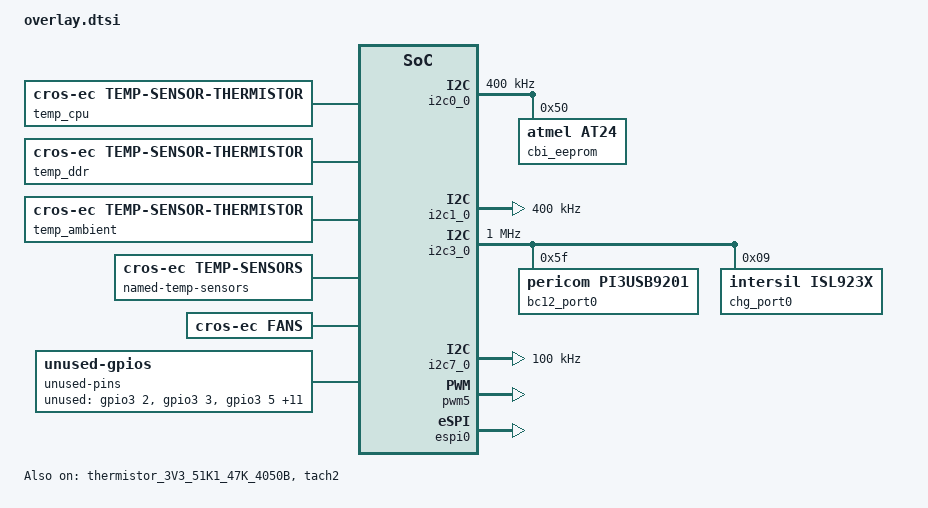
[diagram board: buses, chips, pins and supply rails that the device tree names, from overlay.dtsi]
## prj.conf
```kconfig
# Copyright 2022 The ChromiumOS Authors
# Use of this source code is governed by a BSD-style license that can be
# found in the LICENSE file.

CONFIG_BOARD_PUJJO=y

# Sensor drivers
CONFIG_PLATFORM_EC_ACCELGYRO_LSM6DSM=y
CONFIG_PLATFORM_EC_ACCEL_BMA4XX=y
CONFIG_PLATFORM_EC_ACCELGYRO_BMI_COMM_I2C=y
CONFIG_PLATFORM_EC_ACCELGYRO_BMI3XX=y
CONFIG_PLATFORM_EC_DYNAMIC_MOTION_SENSOR_COUNT=y

# Increase PD max power from default
CONFIG_PLATFORM_EC_PD_MAX_POWER_MW=65000
CONFIG_PLATFORM_EC_PD_MAX_CURRENT_MA=3250

# LED
CONFIG_PLATFORM_EC_LED_PWM=n
CONFIG_PLATFORM_EC_LED_COMMON=y

# CBI
CONFIG_PLATFORM_EC_BYPASS_CBI_EEPROM_WP_CHECK=y
CONFIG_PLATFORM_EC_SYSTEM_UNLOCKED=y

# Charger
CONFIG_RAA489000_TRICKLE_CHARGE_CURRENT_256MA=y

# DPS
CONFIG_PLATFORM_EC_USB_PD_DPS=n

# BTN
CONFIG_PLATFORM_EC_BUTTONS_RUNTIME_CONFIG=y
```

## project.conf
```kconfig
# Copyright 2022 The ChromiumOS Authors
# Use of this source code is governed by a BSD-style license that can be
# found in the LICENSE file.

CONFIG_BOARD_PUJJO=y

# Sensor drivers
CONFIG_PLATFORM_EC_ACCELGYRO_LSM6DSM=y
CONFIG_PLATFORM_EC_ACCEL_BMA4XX=y
CONFIG_PLATFORM_EC_ACCELGYRO_BMI_COMM_I2C=y
CONFIG_PLATFORM_EC_ACCELGYRO_BMI3XX=y
CONFIG_PLATFORM_EC_DYNAMIC_MOTION_SENSOR_COUNT=y

# Increase PD max power from default
CONFIG_PLATFORM_EC_PD_MAX_POWER_MW=65000
CONFIG_PLATFORM_EC_PD_MAX_CURRENT_MA=3250

# LED
CONFIG_PLATFORM_EC_LED_PWM=n
CONFIG_PLATFORM_EC_LED_COMMON=y

# CBI
CONFIG_PLATFORM_EC_BYPASS_CBI_EEPROM_WP_CHECK=y
CONFIG_PLATFORM_EC_SYSTEM_UNLOCKED=y

# DPS
CONFIG_PLATFORM_EC_USB_PD_DPS=n

# BTN
CONFIG_PLATFORM_EC_BUTTONS_RUNTIME_CONFIG=y

# Charger
CONFIG_PLATFORM_EC_RAA489000_TRICKLE_CHARGE_CURRENT=256
```

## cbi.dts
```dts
/* Copyright 2022 The ChromiumOS Authors
 * Use of this source code is governed by a BSD-style license that can be
 * found in the LICENSE file.
 */

/ {
	/* Pujjo-specific fw_config fields. */
	nissa-fw-config {
		/*
		 * FW_CONFIG field to enable KB back light or not.
		 */
		kb-bl {
			enum-name = "FW_KB_BL";
			start = <3>;
			size = <1>;

			no-kb-bl {
				compatible = "cros-ec,cbi-fw-config-value";
				enum-name = "FW_KB_BL_NOT_PRESENT";
				value = <0>;
			};
			kb-bl-present {
				compatible = "cros-ec,cbi-fw-config-value";
				enum-name = "FW_KB_BL_PRESENT";
				value = <1>;
			};
		};

		/*
		 * FW_CONFIG field for KB PWB present or not.
		 */
		kb-pwb {
			enum-name = "FW_KB_PWB";
			start = <4>;
			size = <1>;

			no-kb-pwb {
				compatible = "cros-ec,cbi-fw-config-value";
				enum-name = "FW_KB_PWB_NOT_PRESENT";
				value = <0>;
			};
			kb-pwb-present {
				compatible = "cros-ec,cbi-fw-config-value";
				enum-name = "FW_KB_PWB_PRESENT";
				value = <1>;
			};
		};

		/*
		 * FW_CONFIG field for tablet present or not.
		 */
		tablet {
			enum-name = "FW_TABLET";
			start = <5>;
			size = <1>;

			no-tablet {
				compatible = "cros-ec,cbi-fw-config-value";
				enum-name = "FW_TABLET_NOT_PRESENT";
				value = <0>;
			};
			tablet-present {
				compatible = "cros-ec,cbi-fw-config-value";
				enum-name = "FW_TABLET_PRESENT";
				value = <1>;
			};
		};

		/*
		 * FW_CONFIG field for LTE board present or not.
		 *
		 *	start = <6>;
		 *	size = <1>;
		 */

		/*
		 * FW_CONFIG field for SD card present or not.
		 *
		 *	start = <7>;
		 *	size = <1>;
		 */

		/*
		 * FW_CONFIG field for pen present or not.
		 */
		pen {
			enum-name = "FW_PEN";
			start = <8>;
			size = <1>;

			no-pen {
				compatible = "cros-ec,cbi-fw-config-value";
				enum-name = "FW_PEN_NOT_PRESENT";
				value = <0>;
			};
			pen-present {
				compatible = "cros-ec,cbi-fw-config-value";
				enum-name = "FW_PEN_PRESENT";
				value = <1>;
			};
		};

		/*
		 * FW_CONFIG field for WF camera present or not.
		 *
		 *	start = <9>;
		 *	size = <1>;
		 */

		/*
		 * FW_CONFIG field for multiple thermal table.
		 */
		therm-table {
			enum-name = "THERM_TABLE";
			start = <10>;
			size = <2>;

			therm-table-1 {
				compatible = "cros-ec,cbi-fw-config-value";
				enum-name = "THERM_TABLE_1";
				value = <1>;
			};
		};
	};

	/* Craask-specific ssfc fields. */
	cbi-ssfc {
		compatible = "named-cbi-ssfc";
		/*
		 * SSFC field to identify LID motion sensor.
		 */
		lid-sensor {
			enum-name = "LID_SENSOR";
			size = <2>;
			lid_sensor_0: lis2dw12 {
				compatible = "named-cbi-ssfc-value";
				status = "okay";
				value = <0>;
				default;
			};
			lid_sensor_1: bma422 {
				compatible = "named-cbi-ssfc-value";
				status = "okay";
				value = <1>;
			};
		};
		/*
		 * SSFC field to identify BASE motion sensor.
		 */
		base-sensor {
			enum-name = "BASE_SENSOR";
			size = <2>;

			base_sensor_0: lsm6dso {
				compatible = "named-cbi-ssfc-value";
				status = "okay";
				value = <0>;
				default;
			};
			base_sensor_1: bmi323 {
				compatible = "named-cbi-ssfc-value";
				status = "okay";
				value = <1>;
			};
		};
	};
};
```

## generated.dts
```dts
/* Copyright 2022 The ChromiumOS Authors
 * Use of this source code is governed by a BSD-style license that can be
 * found in the LICENSE file.
 *
 * This file is auto-generated - do not edit!
 */

/ {

	named-adc-channels {
		compatible = "named-adc-channels";

		adc_ec_vsense_pp1050_proc: ec_vsense_pp1050_proc {
			enum-name = "ADC_PP1050_PROC";
			io-channels = <&adc0 4>;
		};
		adc_ec_vsense_pp3300_s5: ec_vsense_pp3300_s5 {
			enum-name = "ADC_PP3300_S5";
			io-channels = <&adc0 6>;
		};
		adc_temp_sensor_1: temp_sensor_1 {
			enum-name = "ADC_TEMP_SENSOR_1";
			io-channels = <&adc0 0>;
		};
		adc_temp_sensor_2: temp_sensor_2 {
			enum-name = "ADC_TEMP_SENSOR_2";
			io-channels = <&adc0 1>;
		};
		adc_temp_sensor_3: temp_sensor_3 {
			enum-name = "ADC_TEMP_SENSOR_3";
			io-channels = <&adc0 10>;
		};
	};

	named-gpios {
		compatible = "named-gpios";

		gpio_acc_int_l: acc_int_l {
			gpios = <&gpio5 0 GPIO_INPUT>;
		};
		gpio_all_sys_pwrgd: all_sys_pwrgd {
			gpios = <&gpioa 7 GPIO_INPUT>;
		};
		gpio_ccd_mode_odl: ccd_mode_odl {
			gpios = <&gpioe 5 GPIO_INPUT>;
			enum-name = "GPIO_CCD_MODE_ODL";
		};
		gpio_cpu_c10_gate_l: cpu_c10_gate_l {
			gpios = <&gpio6 7 GPIO_INPUT>;
		};
		gpio_ec_battery_pres_odl: ec_battery_pres_odl {
			gpios = <&gpioa 3 GPIO_INPUT>;
			enum-name = "GPIO_BATT_PRES_ODL";
		};
		gpio_ec_cbi_wp: ec_cbi_wp {
			gpios = <&gpio7 4 GPIO_OUTPUT>;
		};
		gpio_ec_edp_bl_en_od: ec_edp_bl_en_od {
			gpios = <&gpiod 3 GPIO_ODR_HIGH>;
			enum-name = "GPIO_ENABLE_BACKLIGHT";
		};
		gpio_ec_entering_rw: ec_entering_rw {
			gpios = <&gpio0 3 GPIO_OUTPUT>;
			enum-name = "GPIO_ENTERING_RW";
		};
		gpio_ec_gsc_packet_mode: ec_gsc_packet_mode {
			gpios = <&gpio7 5 GPIO_OUTPUT>;
			enum-name = "GPIO_PACKET_MODE_EN";
		};
		gpio_ec_kso_02_inv: ec_kso_02_inv {
			gpios = <&gpio1 7 (GPIO_OUTPUT_LOW | GPIO_ACTIVE_LOW)>;
		};
		gpio_ec_pch_wake_odl: ec_pch_wake_odl {
			gpios = <&gpiob 0 GPIO_ODR_LOW>;
		};
		gpio_ec_prochot_odl: ec_prochot_odl {
			gpios = <&gpiof 1 GPIO_ODR_HIGH>;
		};
		gpio_ec_soc_dsw_pwrok: ec_soc_dsw_pwrok {
			gpios = <&gpio6 1 GPIO_OUTPUT>;
		};
		gpio_ec_soc_hdmi_hpd: ec_soc_hdmi_hpd {
			gpios = <&gpioe 4 GPIO_OUTPUT>;
		};
		gpio_ec_soc_int_odl: ec_soc_int_odl {
			gpios = <&gpio8 0 GPIO_ODR_HIGH>;
			enum-name = "GPIO_EC_INT_L";
		};
		gpio_ec_soc_pch_pwrok_od: ec_soc_pch_pwrok_od {
			gpios = <&gpio7 2 GPIO_ODR_HIGH>;
		};
		gpio_ec_soc_pwr_btn_odl: ec_soc_pwr_btn_odl {
			gpios = <&gpioc 1 GPIO_ODR_HIGH>;
			enum-name = "GPIO_PCH_PWRBTN_L";
		};
		gpio_ec_soc_rsmrst_l: ec_soc_rsmrst_l {
			gpios = <&gpioa 6 GPIO_OUTPUT>;
		};
		gpio_ec_soc_rtcrst: ec_soc_rtcrst {
			gpios = <&gpio7 6 GPIO_OUTPUT>;
		};
		gpio_ec_soc_sys_pwrok: ec_soc_sys_pwrok {
			gpios = <&gpio3 7 GPIO_OUTPUT>;
		};
		gpio_ec_soc_vccst_pwrgd_od: ec_soc_vccst_pwrgd_od {
			gpios = <&gpioa 4 GPIO_ODR_HIGH>;
		};
		gpio_ec_wp_odl: ec_wp_odl {
			gpios = <&gpioa 1 (GPIO_INPUT | GPIO_ACTIVE_LOW)>;
		};
		gpio_en_kb_bl: en_kb_bl {
			gpios = <&gpioa 0 GPIO_OUTPUT>;
			enum-name = "GPIO_EN_KEYBOARD_BACKLIGHT";
		};
		gpio_en_pp3300_s5: en_pp3300_s5 {
			gpios = <&gpiob 6 GPIO_OUTPUT>;
			enum-name = "GPIO_TEMP_SENSOR_POWER";
		};
		gpio_en_pp5000_pen_x: en_pp5000_pen_x {
			gpios = <&gpioe 2 GPIO_OUTPUT>;
		};
		gpio_en_pp5000_s5: en_pp5000_s5 {
			gpios = <&gpio4 0 GPIO_OUTPUT>;
		};
		gpio_en_slp_z: en_slp_z {
			gpios = <&gpioe 1 GPIO_OUTPUT>;
		};
		gpio_en_usb_a0_vbus: en_usb_a0_vbus {
			gpios = <&gpio9 1 GPIO_OUTPUT>;
		};
		gpio_gsc_ec_pwr_btn_odl: gsc_ec_pwr_btn_odl {
			gpios = <&gpio0 0 GPIO_INPUT_PULL_UP>;
			enum-name = "GPIO_POWER_BUTTON_L";
		};
		gpio_hdmi_sel: hdmi_sel {
			gpios = <&gpioc 6 GPIO_OUTPUT>;
		};
		gpio_imu_int_l: imu_int_l {
			gpios = <&gpio5 6 GPIO_INPUT>;
		};
		gpio_imvp91_vrrdy_od: imvp91_vrrdy_od {
			gpios = <&gpio4 3 GPIO_INPUT>;
		};
		gpio_lid_open: lid_open {
			gpios = <&gpiod 2 GPIO_INPUT>;
			enum-name = "GPIO_LID_OPEN";
		};
		gpio_pen_detect_odl: pen_detect_odl {
			gpios = <&gpio9 6 GPIO_INPUT_PULL_UP>;
		};
		gpio_pg_pp1050_mem_s3_od: pg_pp1050_mem_s3_od {
			gpios = <&gpiof 0 GPIO_INPUT>;
		};
		gpio_pg_pp5000_s5_od: pg_pp5000_s5_od {
			gpios = <&gpio4 2 GPIO_INPUT>;
		};
		gpio_rsmrst_pwrgd_l: rsmrst_pwrgd_l {
			gpios = <&gpio9 4 GPIO_INPUT_PULL_UP>;
		};
		gpio_slp_s0_l: slp_s0_l {
			gpios = <&gpio9 7 GPIO_INPUT>;
		};
		gpio_slp_s3_l: slp_s3_l {
			gpios = <&gpioa 5 GPIO_INPUT>;
		};
		gpio_slp_s4_l: slp_s4_l {
			gpios = <&gpio7 0 GPIO_INPUT>;
		};
		gpio_slp_sus_l: slp_sus_l {
			gpios = <&gpio6 2 GPIO_INPUT>;
		};
		gpio_sub_usb_a1_ilimit_sdp: sub_usb_a1_ilimit_sdp {
			gpios = <&gpiod 5 GPIO_OUTPUT>;
			enum-name = "GPIO_USB2_ILIM_SEL";
		};
		gpio_sys_rst_odl: sys_rst_odl {
			gpios = <&gpioc 5 GPIO_ODR_HIGH>;
		};
		gpio_tablet_mode_l: tablet_mode_l {
			gpios = <&gpio9 5 GPIO_INPUT>;
			enum-name = "GPIO_TABLET_MODE_L";
		};
		gpio_usb_a0_ilimit_sdp: usb_a0_ilimit_sdp {
			/* output only pin */
			gpios = <&gpio8 5 (GPIO_GET_OUTPUT | GPIO_OUTPUT)>;
			enum-name = "GPIO_USB1_ILIM_SEL";
		};
		gpio_usb_c0_int_odl: usb_c0_int_odl {
			gpios = <&gpio0 1 GPIO_INPUT_PULL_UP>;
		};
		gpio_vccin_aux_vid0: vccin_aux_vid0 {
			gpios = <&gpio9 2 GPIO_INPUT>;
		};
		gpio_vccin_aux_vid1: vccin_aux_vid1 {
			gpios = <&gpioe 3 GPIO_INPUT>;
		};
		gpio_voldn_btn_odl: voldn_btn_odl {
			gpios = <&gpio9 3 GPIO_INPUT_PULL_UP>;
			enum-name = "GPIO_VOLUME_DOWN_L";
		};
		gpio_volup_btn_odl: volup_btn_odl {
			gpios = <&gpioa 2 GPIO_INPUT_PULL_UP>;
			enum-name = "GPIO_VOLUME_UP_L";
		};
	};

	named-i2c-ports {
		compatible = "named-i2c-ports";

		i2c_ec_i2c_eeprom: ec_i2c_eeprom {
			i2c-port = <&i2c0_0>;
			enum-names = "I2C_PORT_EEPROM";
		};
		i2c_ec_i2c_sensor: ec_i2c_sensor {
			i2c-port = <&i2c1_0>;
			enum-names = "I2C_PORT_SENSOR";
		};
		i2c_ec_i2c_usb_c0: ec_i2c_usb_c0 {
			i2c-port = <&i2c3_0>;
			enum-names = "I2C_PORT_USB_C0_TCPC";
		};
		i2c_ec_i2c_batt: ec_i2c_batt {
			i2c-port = <&i2c7_0>;
			enum-names = "I2C_PORT_BATTERY";
		};
	};
};

&adc0 {
	status = "okay";
	pinctrl-0 = <&adc0_chan0_gp45
		     &adc0_chan1_gp44
		     &adc0_chan4_gp41
		     &adc0_chan6_gp34
		     &adc0_chan10_gpe0>;
	pinctrl-names = "default";
};


&i2c0_0 {
	status = "okay";
	pinctrl-0 = <&i2c0_0_sda_scl_gpb4_b5>;
	pinctrl-names = "default";
};

&i2c1_0 {
	status = "okay";
	pinctrl-0 = <&i2c1_0_sda_scl_gp87_90>;
	pinctrl-names = "default";
};

&i2c3_0 {
	status = "okay";
	pinctrl-0 = <&i2c3_0_sda_scl_gpd0_d1>;
	pinctrl-names = "default";
};

&i2c7_0 {
	status = "okay";
	pinctrl-0 = <&i2c7_0_sda_scl_gpb2_b3>;
	pinctrl-names = "default";
};

&i2c_ctrl0 {
	status = "okay";
};

&i2c_ctrl1 {
	status = "okay";
};

&i2c_ctrl3 {
	status = "okay";
};

&i2c_ctrl7 {
	status = "okay";
};
```

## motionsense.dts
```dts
/* Copyright 2022 The ChromiumOS Authors
 * Use of this source code is governed by a BSD-style license that can be
 * found in the LICENSE file.
 */

#include <dt-bindings/motionsense/utils.h>


/ {
	aliases {
		/*
		 * Interrupt bindings for sensor devices.
		 */
		lsm6dsm-int = &base_accel;
		lis2dw12-int = &lid_accel;
	};

	/*
	 * Declare mutexes used by sensor drivers.
	 * A mutex node is used to create an instance of mutex_t.
	 * A mutex node is referenced by a sensor node if the
	 * corresponding sensor driver needs to use the
	 * instance of the mutex.
	 */
	motionsense-mutex {
		compatible = "cros-ec,motionsense-mutex";
		lid_mutex: lis2dw12-mutex {
		};

		lid_mutex_bma422: bma422-mutex {
		};

		base_mutex: base-mutex {
		};
	};

	/* Rotation matrix used by drivers. */
	motionsense-rotation-ref {
		compatible = "cros-ec,motionsense-rotation-ref";
		lid_rot_ref: lid-rotation-ref {
			mat33 = <0 (-1) 0
				 (-1) 0 0
				 0 0 (-1)>;
		};

		base_rot_ref: base-rotation-ref {
			mat33 = <0 1 0
				 (-1) 0 0
				 0 0 1>;
		};

		base_rot_ver1: base-rotation-ver1 {
			mat33 = <0 1 0
				(-1) 0 0
				0 0 1>;
		};

		lid_rot_bma422: lid-rotation-bma {
			mat33 = <1 0 0
				 0 (-1) 0
				 0 0 (-1)>;
		};
	};

	/*
	 * Driver specific data. A driver-specific data can be shared with
	 * different motion sensors while they are using the same driver.
	 *
	 * If a node's compatible starts with "cros-ec,accelgyro-", it is for
	 * a common structure defined in accelgyro.h.
	 * e.g) compatible = "cros-ec,accelgyro-als-drv-data" is for
	 * "struct als_drv_data_t" in accelgyro.h
	 */
	motionsense-sensor-data {
		lsm6dsm_accel_data: lsm6dsm-accel-drv-data {
			compatible = "cros-ec,drvdata-lsm6dsm";
			status = "okay";
		};

		lsm6dsm_gyro_data: lsm6dsm-gyro-drv-data {
			compatible = "cros-ec,drvdata-lsm6dsm";
			status = "okay";
		};

		lis2dw12_data: lis2dw12-drv-data {
			compatible = "cros-ec,drvdata-lis2dw12";
			status = "okay";
		};

		bma422_data: bma4xx-drv-data {
			compatible = "cros-ec,drvdata-bma4xx";
			status = "okay";
		};
	};

	/*
	 * List of motion sensors that creates motion_sensors array.
	 * The nodelabel "lid_accel" and "base_accel" are used to indicate
	 * motion sensor IDs for lid angle calculation.
	 * TODO(b/238139272): The first entries of the array must be
	 * accelerometers,then gyroscope. Fix this dependency in the DTS
	 * processing which makes the devicetree entries independent.
	 */
	motionsense-sensor {
		lid_accel: lid-accel {
			compatible = "cros-ec,lis2dw12";
			status = "okay";

			active-mask = "SENSOR_ACTIVE_S0_S3";
			location = "MOTIONSENSE_LOC_LID";
			mutex = <&lid_mutex>;
			port = <&i2c_ec_i2c_sensor>;
			rot-standard-ref = <&lid_rot_ref>;
			default-range = <2>;
			drv-data = <&lis2dw12_data>;
			i2c-spi-addr-flags = "LIS2DWL_ADDR0_FLAGS";
			configs {
				compatible =
					"cros-ec,motionsense-sensor-config";
				ec-s0 {
					odr = <(10000 | ROUND_UP_FLAG)>;
				};
				ec-s3 {
					odr = <(10000 | ROUND_UP_FLAG)>;
				};
			};
		};

		base_accel: base-accel {
			compatible = "cros-ec,lsm6dsm-accel";
			status = "okay";

			active-mask = "SENSOR_ACTIVE_S0_S3";
			location = "MOTIONSENSE_LOC_BASE";
			mutex = <&base_mutex>;
			port = <&i2c_ec_i2c_sensor>;
			rot-standard-ref = <&base_rot_ref>;
			drv-data = <&lsm6dsm_accel_data>;
			configs {
				compatible =
					"cros-ec,motionsense-sensor-config";
				ec-s0 {
					odr = <(10000 | ROUND_UP_FLAG)>;
				};
				ec-s3 {
					odr = <(10000 | ROUND_UP_FLAG)>;
				};
			};
		};

		base_gyro: base-gyro {
			compatible = "cros-ec,lsm6dsm-gyro";
			status = "okay";

			active-mask = "SENSOR_ACTIVE_S0_S3";
			location = "MOTIONSENSE_LOC_BASE";
			mutex = <&base_mutex>;
			port = <&i2c_ec_i2c_sensor>;
			rot-standard-ref = <&base_rot_ref>;
			default-range = <(1000 | ROUND_UP_FLAG)>; /* dps */
			drv-data = <&lsm6dsm_gyro_data>;
		};
	};

	motionsense-sensor-alt {
		alt_lid_accel: alt-lid-accel {
			compatible = "cros-ec,bma4xx";
			status = "okay";

			active-mask = "SENSOR_ACTIVE_S0_S3";
			location = "MOTIONSENSE_LOC_LID";
			mutex = <&lid_mutex_bma422>;
			port = <&i2c_ec_i2c_sensor>;
			rot-standard-ref = <&lid_rot_bma422>;
			default-range = <2>;
			drv-data = <&bma422_data>;
			i2c-spi-addr-flags = "BMA4_I2C_ADDR_PRIMARY";
			alternate-for = <&lid_accel>;
			alternate-ssfc-indicator = <&lid_sensor_1>;
			configs {
				compatible =
					"cros-ec,motionsense-sensor-config";
				ec-s0 {
					odr = <(10000 | ROUND_UP_FLAG)>;
				};
				ec-s3 {
					odr = <(10000 | ROUND_UP_FLAG)>;
				};
			};
		};
	};

	motionsense-sensor-info {
		compatible = "cros-ec,motionsense-sensor-info";

		/*
		 * list of GPIO interrupts that have to
		 * be enabled at initial stage
		 */
		sensor-irqs = <&int_imu>;
		/* list of sensors in force mode */
		accel-force-mode-sensors = <&lid_accel>;
	};
};
```

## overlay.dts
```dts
/* Copyright 2022 The ChromiumOS Authors
 * Use of this source code is governed by a BSD-style license that can be
 * found in the LICENSE file.
 */

#include <cros/thermistor/thermistor.dtsi>

/ {
	aliases {
		gpio-cbi-wp = &gpio_ec_cbi_wp;
		gpio-wp = &gpio_ec_wp_odl;
		int-wp = &int_wp_l;
		gpio-kbd-kso2 = &gpio_ec_kso_02_inv;
	};

	ec-console {
		compatible = "ec-console";
		disabled = "events", "lpc", "hostcmd";
	};

	batteries {
		default_battery: smp {
			compatible = "smp,l22m3pg0", "battery-smart";
		};
		smp_l22m3pg1 {
			compatible = "smp,l22m3pg1", "battery-smart";
		};
		sunwoda_l22d3pg0 {
			compatible = "sunwoda,l22d3pg0", "battery-smart";
		};
		sunwoda_l22d3pg1 {
			compatible = "sunwoda,l22d3pg1", "battery-smart";
		};
		celxpert_l22c3pg0 {
			compatible = "celxpert,l22c3pg0", "battery-smart";
		};
	};

	hibernate-wake-pins {
		compatible = "cros-ec,hibernate-wake-pins";
		wakeup-irqs = <
			&int_power_button
			&int_lid_open
		>;
	};

	gpio-interrupts {
		compatible = "cros-ec,gpio-interrupts";

		int_power_button: power_button {
			irq-pin = <&gpio_gsc_ec_pwr_btn_odl>;
			flags = <GPIO_INT_EDGE_BOTH>;
			handler = "power_button_interrupt";
		};
		int_wp_l: wp_l {
			irq-pin = <&gpio_ec_wp_odl>;
			flags = <GPIO_INT_EDGE_BOTH>;
			handler = "switch_interrupt";
		};
		int_lid_open: lid_open {
			irq-pin = <&gpio_lid_open>;
			flags = <GPIO_INT_EDGE_BOTH>;
			handler = "lid_interrupt";
		};
		int_tablet_mode: tablet_mode {
			irq-pin = <&gpio_tablet_mode_l>;
			flags = <GPIO_INT_EDGE_BOTH>;
			handler = "gmr_tablet_switch_isr";
		};
		int_imu: ec_imu {
			irq-pin = <&gpio_imu_int_l>;
			flags = <GPIO_INT_EDGE_FALLING>;
			handler = "lsm6dsm_interrupt";
		};
		int_vol_down: vol_down {
			irq-pin = <&gpio_voldn_btn_odl>;
			flags = <GPIO_INT_EDGE_BOTH>;
			handler = "button_interrupt";
		};
		int_vol_up: vol_up {
			irq-pin = <&gpio_volup_btn_odl>;
			flags = <GPIO_INT_EDGE_BOTH>;
			handler = "button_interrupt";
		};
		int_usb_c0: usb_c0 {
			irq-pin = <&gpio_usb_c0_int_odl>;
			flags = <GPIO_INT_EDGE_FALLING>;
			handler = "usb_interrupt";
		};
	};

	named-gpios {
		gpio_sb_2: sb_2 {
			gpios = <&gpiod 4 GPIO_OUTPUT>;
			no-auto-init;
		};

		gpio_sb_3: sb_3 {
			gpios = <&gpiof 5 GPIO_OPEN_DRAIN>;
			no-auto-init;
		};
		gpio_sb_4: sb_4 {
			gpios = <&gpiof 4 GPIO_INPUT>;
			no-auto-init;
		};
		gpio_fan_enable: fan-enable {
			gpios = <&gpio6 3 GPIO_OUTPUT>;
			no-auto-init;
		};
		gpio_power_led: power_led {
			gpios = <&gpioc 2 GPIO_OUTPUT_LOW>;
		};
		gpio_led_1_odl: led_1_odl {
			gpios = <&gpioc 4 GPIO_OUTPUT_LOW>;
		};
		gpio_led_2_odl: led_2_odl {
			gpios = <&gpioc 3 GPIO_OUTPUT_LOW>;
		};
	};

	/*
	 * Aliases used for sub-board GPIOs.
	 */
	aliases {
		/*
		 * Sub-board with type A USB, enable.
		 */
		gpio-en-usb-a1-vbus = &gpio_sb_2;
		/*
		 * HPD pins for HDMI sub-board.
		 */
		gpio-hdmi-en-odl = &gpio_sb_3;
		gpio-hpd-odl = &gpio_sb_4;
		/*
		 * Enable S5 rails for LTE sub-board
		 */
		gpio-en-sub-s5-rails = &gpio_sb_2;
	};

	named-temp-sensors {
		CPU {
			compatible = "cros-ec,temp-sensor-thermistor",
				     "cros-ec,temp-sensor";
			thermistor = <&thermistor_3V3_51K1_47K_4050B>;
			enum-name = "TEMP_SENSOR_1";
			temp_fan_off = <35>;
			temp_fan_max = <60>;
			temp_host_high = <90>;
			temp_host_halt = <100>;
			temp_host_release_high = <85>;
			adc = <&adc_temp_sensor_1>;
			power-good-pin = <&gpio_ec_soc_dsw_pwrok>;
		};
		DDR {
			compatible = "cros-ec,temp-sensor-thermistor",
				     "cros-ec,temp-sensor";
			thermistor = <&thermistor_3V3_51K1_47K_4050B>;
			enum-name = "TEMP_SENSOR_2";
			temp_fan_off = <35>;
			temp_fan_max = <60>;
			temp_host_high = <90>;
			temp_host_halt = <100>;
			temp_host_release_high = <85>;
			adc = <&adc_temp_sensor_2>;
			power-good-pin = <&gpio_ec_soc_dsw_pwrok>;
		};
		ambient {
			compatible = "cros-ec,temp-sensor-thermistor",
				     "cros-ec,temp-sensor";
			thermistor = <&thermistor_3V3_51K1_47K_4050B>;
			enum-name = "TEMP_SENSOR_3";
			temp_fan_off = <35>;
			temp_fan_max = <60>;
			temp_host_high = <90>;
			temp_host_halt = <100>;
			temp_host_release_high = <85>;
			adc = <&adc_temp_sensor_3>;
			power-good-pin = <&gpio_ec_soc_dsw_pwrok>;
		};
	};

	usba {
		compatible = "cros-ec,usba-port-enable-pins";
		/*
		 * sb_2 is only configured as GPIO when USB-A1 is present,
		 * but it's still safe to control when disabled.
		 *
		 * ILIM_SEL pins are referred to by legacy enum name,
		 * GPIO_USB*_ILIM_SEL. The one for port A1 is unused on
		 * sub-boards that don't have USB-A so is safe to control
		 * regardless of system configuration.
		 */
		enable-pins = <&gpio_en_usb_a0_vbus &gpio_sb_2>;
		status = "okay";
	};

	usbc {
		#address-cells = <1>;
		#size-cells = <0>;

		port0@0 {
			compatible = "named-usbc-port";
			reg = <0>;
			bc12 = <&bc12_port0>;
			chg = <&chg_port0>;
			usb-mux-chain-0 {
				compatible = "cros-ec,usb-mux-chain";
				usb-muxes = <&virtual_mux_0>;
			};
		};
		port0-muxes {
			virtual_mux_0: virtual-mux-0 {
				compatible = "cros-ec,usbc-mux-virtual";
			};
		};
	};

	fans {
		compatible = "cros-ec,fans";

		fan_0 {
			pwms = <&pwm5 5 PWM_KHZ(1) PWM_POLARITY_NORMAL>;
			rpm_min = <2200>;
			rpm_start = <2200>;
			rpm_max = <4200>;
			tach = <&tach2>;
			enable_gpio = <&gpio_fan_enable>;
		};
	};

	 /*
	  * Declare unused GPIOs so that they are shut down
	  * and use minimal power
	  */
	  unused-pins {
		compatible = "unused-gpios";
		unused-gpios =
			<&gpio3 3 0>,
			<&gpio3 6 0>,
			<&gpiod 7 0>,
			<&gpiof 2 0>,
			<&gpiof 3 0>;
	 };
};

&thermistor_3V3_51K1_47K_4050B {
	status = "okay";
};

&adc_ec_vsense_pp3300_s5 {
	/*
	 * Voltage divider on input has 47k upper and 220k lower legs with
	 * 2714 mV full-scale reading on the ADC. Apply the largest possible
	 * multiplier (without overflowing int32) to get the best possible
	 * approximation of the actual ratio, but derate by a factor of two to
	 * ensure unexpectedly high values won't overflow.
	 */
	mul = <(791261 / 2)>;
	div = <(651975 / 2)>;
};

/* Set bus speeds for I2C */
&i2c0_0 {
	label = "I2C_EEPROM";
	clock-frequency = <I2C_BITRATE_FAST>;

	cbi_eeprom: eeprom@50 {
		compatible = "atmel,at24";
		reg = <0x50>;
		size = <2048>;
		pagesize = <16>;
		address-width = <8>;
		timeout = <5>;
	};
};

&i2c1_0 {
	label = "I2C_SENSOR";
	clock-frequency = <I2C_BITRATE_FAST>;
};

&i2c3_0 {
	label = "I2C_USB_C0_TCPC";
	clock-frequency = <I2C_BITRATE_FAST_PLUS>;

	bc12_port0: pi3usb9201@5f {
		compatible = "pericom,pi3usb9201";
		status = "okay";
		reg = <0x5f>;
		/*
		 * BC1.2 interrupt is shared with TCPC, so
		 * IRQ is not specified here and handled by
		 * usb_c0_interrupt.
		 */
	};

	chg_port0: isl923x@9 {
		compatible = "intersil,isl923x";
		status = "okay";
		reg = <0x9>;
	};
};

&i2c7_0 {
	label = "I2C_BATTERY";
	clock-frequency = <I2C_BITRATE_STANDARD>;
};

&pwm5_gpb7 {
	drive-open-drain;
};

&pwm5 {
	status = "okay";
	clock-bus = "NPCX_CLOCK_BUS_LFCLK";
	pinctrl-0 = <&pwm5_gpb7>;
	pinctrl-names = "default";
};

/* Tachometer for fan speed measurement */
&tach2 {
	status = "okay";
	pinctrl-0 = <&ta2_1_in_gp73>;
	pinctrl-names = "default";
	port = <NPCX_TACH_PORT_A>; /* port-A is selected */
	sample-clk = <NPCX_TACH_FREQ_LFCLK>; /* Use LFCLK as sampling clock */
	pulses-per-round = <2>; /* number of pulses per round of encoder */
};

/* host interface */
&espi0 {
	status = "okay";
	pinctrl-0 = <&espi_lpc_gp46_47_51_52_53_54_55_57>;
	pinctrl-names = "default";
};

/*
 * Declare GPIOs that have leakage current caused by board issues here. NPCX ec
 * will disable their input buffers before entering deep sleep and restore them
 * after waking up automatically for better power consumption.
 */
&power_leakage_io {
	leak-gpios = <&gpioa 4 0
		      &gpiof 1 0>;
};
```

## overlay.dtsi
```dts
/* Copyright 2022 The ChromiumOS Authors
 * Use of this source code is governed by a BSD-style license that can be
 * found in the LICENSE file.
 */

#include <cros/thermistor/thermistor.dtsi>

/ {
	aliases {
		gpio-cbi-wp = &gpio_ec_cbi_wp;
		gpio-wp = &gpio_ec_wp_odl;
		int-wp = &int_wp_l;
		gpio-kbd-kso2 = &gpio_ec_kso_02_inv;
	};

	ec-console {
		compatible = "ec-console";
		disabled = "events", "lpc", "hostcmd";
	};

	batteries {
		default_battery: smp {
			compatible = "smp,l22m3pg0", "battery-smart";
		};
		smp_l22m3pg1 {
			compatible = "smp,l22m3pg1", "battery-smart";
		};
		sunwoda_l22d3pg0 {
			compatible = "sunwoda,l22d3pg0", "battery-smart";
		};
		sunwoda_l22d3pg1 {
			compatible = "sunwoda,l22d3pg1", "battery-smart";
		};
		celxpert_l22c3pg0 {
			compatible = "celxpert,l22c3pg0", "battery-smart";
		};
	};

	hibernate-wake-pins {
		compatible = "cros-ec,hibernate-wake-pins";
		wakeup-irqs = <
			&int_power_button
			&int_lid_open
		>;
	};

	gpio-interrupts {
		compatible = "cros-ec,gpio-interrupts";

		int_power_button: power_button {
			irq-pin = <&gpio_gsc_ec_pwr_btn_odl>;
			flags = <GPIO_INT_EDGE_BOTH>;
			handler = "power_button_interrupt";
		};
		int_wp_l: wp_l {
			irq-pin = <&gpio_ec_wp_odl>;
			flags = <GPIO_INT_EDGE_BOTH>;
			handler = "switch_interrupt";
		};
		int_lid_open: lid_open {
			irq-pin = <&gpio_lid_open>;
			flags = <GPIO_INT_EDGE_BOTH>;
			handler = "lid_interrupt";
		};
		int_tablet_mode: tablet_mode {
			irq-pin = <&gpio_tablet_mode_l>;
			flags = <GPIO_INT_EDGE_BOTH>;
			handler = "gmr_tablet_switch_isr";
		};
		int_imu: ec_imu {
			irq-pin = <&gpio_imu_int_l>;
			flags = <GPIO_INT_EDGE_FALLING>;
			handler = "motion_interrupt";
		};
		int_vol_down: vol_down {
			irq-pin = <&gpio_voldn_btn_odl>;
			flags = <GPIO_INT_EDGE_BOTH>;
			handler = "button_interrupt";
		};
		int_vol_up: vol_up {
			irq-pin = <&gpio_volup_btn_odl>;
			flags = <GPIO_INT_EDGE_BOTH>;
			handler = "button_interrupt";
		};
		int_usb_c0: usb_c0 {
			irq-pin = <&gpio_usb_c0_int_odl>;
			flags = <GPIO_INT_EDGE_FALLING>;
			handler = "usb_interrupt";
		};
	};

	named-gpios {
		gpio_sb_2: sb_2 {
			gpios = <&gpiod 4 GPIO_OUTPUT>;
			no-auto-init;
		};

		gpio_sb_3: sb_3 {
			gpios = <&gpiof 5 GPIO_OPEN_DRAIN>;
			no-auto-init;
		};
		gpio_sb_4: sb_4 {
			gpios = <&gpiof 4 GPIO_INPUT>;
			no-auto-init;
		};
		gpio_fan_enable: fan-enable {
			gpios = <&gpio6 3 GPIO_OUTPUT>;
			no-auto-init;
		};
		gpio_power_led: power_led {
			gpios = <&gpioc 2 GPIO_OUTPUT_LOW>;
		};
		gpio_led_1_odl: led_1_odl {
			gpios = <&gpioc 4 GPIO_OUTPUT_LOW>;
		};
		gpio_led_2_odl: led_2_odl {
			gpios = <&gpioc 3 GPIO_OUTPUT_LOW>;
		};
	};

	/*
	 * Aliases used for sub-board GPIOs.
	 */
	aliases {
		/*
		 * Sub-board with type A USB, enable.
		 */
		gpio-en-usb-a1-vbus = &gpio_sb_2;
		/*
		 * HPD pins for HDMI sub-board.
		 */
		gpio-hdmi-en-odl = &gpio_sb_3;
		gpio-hpd-odl = &gpio_sb_4;
		/*
		 * Enable S5 rails for LTE sub-board
		 */
		gpio-en-sub-s5-rails = &gpio_sb_2;
	};

	temp_cpu: cpu {
		compatible = "cros-ec,temp-sensor-thermistor";
		thermistor = <&thermistor_3V3_51K1_47K_4050B>;
		adc = <&adc_temp_sensor_1>;
	};
	temp_ddr: ddr {
		compatible = "cros-ec,temp-sensor-thermistor";
		thermistor = <&thermistor_3V3_51K1_47K_4050B>;
		adc = <&adc_temp_sensor_2>;
	};
	temp_ambient: ambient {
		compatible = "cros-ec,temp-sensor-thermistor";
		thermistor = <&thermistor_3V3_51K1_47K_4050B>;
		adc = <&adc_temp_sensor_3>;
	};

	named-temp-sensors {
		compatible = "cros-ec,temp-sensors";
		cpu {
			temp_fan_off = <35>;
			temp_fan_max = <60>;
			temp_host_high = <90>;
			temp_host_halt = <100>;
			temp_host_release_high = <85>;
			power-good-pin = <&gpio_ec_soc_dsw_pwrok>;
			sensor = <&temp_cpu>;
		};
		ddr {
			temp_fan_off = <35>;
			temp_fan_max = <60>;
			temp_host_high = <90>;
			temp_host_halt = <100>;
			temp_host_release_high = <85>;
			power-good-pin = <&gpio_ec_soc_dsw_pwrok>;
			sensor = <&temp_ddr>;
		};
		ambient {
			temp_fan_off = <35>;
			temp_fan_max = <60>;
			temp_host_high = <90>;
			temp_host_halt = <100>;
			temp_host_release_high = <85>;
			power-good-pin = <&gpio_ec_soc_dsw_pwrok>;
			sensor = <&temp_ambient>;
		};
	};

	usba {
		compatible = "cros-ec,usba-port-enable-pins";
		/*
		 * sb_2 is only configured as GPIO when USB-A1 is present,
		 * but it's still safe to control when disabled.
		 *
		 * ILIM_SEL pins are referred to by legacy enum name,
		 * GPIO_USB*_ILIM_SEL. The one for port A1 is unused on
		 * sub-boards that don't have USB-A so is safe to control
		 * regardless of system configuration.
		 */
		enable-pins = <&gpio_en_usb_a0_vbus &gpio_sb_2>;
		status = "okay";
	};

	usbc {
		#address-cells = <1>;
		#size-cells = <0>;

		port0@0 {
			compatible = "named-usbc-port";
			reg = <0>;
			bc12 = <&bc12_port0>;
			chg = <&chg_port0>;
			usb-mux-chain-0 {
				compatible = "cros-ec,usb-mux-chain";
				usb-muxes = <&virtual_mux_0>;
			};
		};
		port0-muxes {
			virtual_mux_0: virtual-mux-0 {
				compatible = "cros-ec,usbc-mux-virtual";
			};
		};
	};

	fans {
		compatible = "cros-ec,fans";

		fan_0 {
			pwms = <&pwm5 5 PWM_KHZ(1) PWM_POLARITY_NORMAL>;
			rpm_min = <2200>;
			rpm_start = <2200>;
			rpm_max = <4200>;
			tach = <&tach2>;
			enable_gpio = <&gpio_fan_enable>;
		};
	};

	 /*
	  * Declare unused GPIOs so that they are shut down
	  * and use minimal power
	  */
	  unused-pins {
		compatible = "unused-gpios";
		unused-gpios =
			<&gpio3 2 0>,
			<&gpio3 3 0>,
			<&gpio3 5 0>,
			<&gpio3 6 0>,
			<&gpio5 7 0>,
			<&gpio6 0 0>,
			<&gpio6 6 0>,
			<&gpio8 3 0>,
			<&gpio8 6 0>,
			<&gpiob 1 0>,
			<&gpioc 7 0>,
			<&gpiod 7 0>,
			<&gpiof 2 0>,
			<&gpiof 3 0>;
	 };
};

&thermistor_3V3_51K1_47K_4050B {
	status = "okay";
};

&adc_ec_vsense_pp3300_s5 {
	/*
	 * Voltage divider on input has 47k upper and 220k lower legs with
	 * 2714 mV full-scale reading on the ADC. Apply the largest possible
	 * multiplier (without overflowing int32) to get the best possible
	 * approximation of the actual ratio, but derate by a factor of two to
	 * ensure unexpectedly high values won't overflow.
	 */
	mul = <(791261 / 2)>;
	div = <(651975 / 2)>;
};

/* Set bus speeds for I2C */
&i2c0_0 {
	label = "I2C_EEPROM";
	clock-frequency = <I2C_BITRATE_FAST>;

	cbi_eeprom: eeprom@50 {
		compatible = "atmel,at24";
		reg = <0x50>;
		size = <2048>;
		pagesize = <16>;
		address-width = <8>;
		timeout = <5>;
	};
};

&i2c1_0 {
	label = "I2C_SENSOR";
	clock-frequency = <I2C_BITRATE_FAST>;
};

&i2c3_0 {
	label = "I2C_USB_C0_TCPC";
	clock-frequency = <I2C_BITRATE_FAST_PLUS>;

	bc12_port0: pi3usb9201@5f {
		compatible = "pericom,pi3usb9201";
		status = "okay";
		reg = <0x5f>;
		/*
		 * BC1.2 interrupt is shared with TCPC, so
		 * IRQ is not specified here and handled by
		 * usb_c0_interrupt.
		 */
	};

	chg_port0: isl923x@9 {
		compatible = "intersil,isl923x";
		status = "okay";
		reg = <0x9>;
	};
};

&i2c7_0 {
	label = "I2C_BATTERY";
	clock-frequency = <I2C_BITRATE_STANDARD>;
};

&pwm5_gpb7 {
	drive-open-drain;
};

&pwm5 {
	status = "okay";
	clock-bus = "NPCX_CLOCK_BUS_LFCLK";
	pinctrl-0 = <&pwm5_gpb7>;
	pinctrl-names = "default";
};

/* Tachometer for fan speed measurement */
&tach2 {
	status = "okay";
	pinctrl-0 = <&ta2_1_in_gp73>;
	pinctrl-names = "default";
	port = <NPCX_TACH_PORT_A>; /* port-A is selected */
	sample-clk = <NPCX_TACH_FREQ_LFCLK>; /* Use LFCLK as sampling clock */
	pulses-per-round = <2>; /* number of pulses per round of encoder */
};

/* host interface */
&espi0 {
	status = "okay";
	pinctrl-0 = <&espi_lpc_gp46_47_51_52_53_54_55_57>;
	pinctrl-names = "default";
};

/*
 * Declare GPIOs that have leakage current caused by board issues here. NPCX ec
 * will disable their input buffers before entering deep sleep and restore them
 * after waking up automatically for better power consumption.
 */
&power_leakage_io {
	leak-gpios = <&gpioa 4 0
		      &gpiof 1 0>;
};
```

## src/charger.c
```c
/* Copyright 2022 The ChromiumOS Authors
 * Use of this source code is governed by a BSD-style license that can be
 * found in the LICENSE file.
 */

#include <zephyr/logging/log.h>

#include "battery.h"
#include "charger.h"
#include "charger/isl923x_public.h"
#include "driver/tcpm/raa489000.h"
#include "driver/charger/isl923x.h"
#include "console.h"
#include "extpower.h"
#include "hooks.h"
#include "usb_pd.h"
#include "nissa_common.h"
#include "hooks.h"

LOG_MODULE_DECLARE(nissa, CONFIG_NISSA_LOG_LEVEL);

int extpower_is_present(void)
{
	int port;
	int rv;
	bool acok;

	for (port = 0; port < board_get_usb_pd_port_count(); port++) {
		rv = raa489000_is_acok(port, &acok);
		if ((rv == EC_SUCCESS) && acok)
			return 1;
	}

	return 0;
}

/*
 * Pujjo does not have a GPIO indicating whether extpower is present,
 * so detect using the charger(s).
 */
__override void board_check_extpower(void)
{
	static int last_extpower_present;
	int extpower_present = extpower_is_present();

	if (last_extpower_present ^ extpower_present)
		extpower_handle_update(extpower_present);

	last_extpower_present = extpower_present;
}

__override void board_hibernate(void)
{
	/* Shut down the chargers */
	raa489000_hibernate(0, true);
	LOG_INF("Charger(s) hibernated");
	cflush();
}

static void charger_prochot_init(void)
{
	isl923x_set_ac_prochot(CHARGER_SOLO, 3500);
	isl923x_set_dc_prochot(CHARGER_SOLO, 6528);
}
DECLARE_HOOK(HOOK_INIT, charger_prochot_init, HOOK_PRIO_POST_FIRST);
```

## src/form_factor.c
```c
/* Copyright 2022 The ChromiumOS Authors
 * Use of this source code is governed by a BSD-style license that can be
 * found in the LICENSE file.
 */

#include <zephyr/devicetree.h>
#include <zephyr/logging/log.h>

#include "accelgyro.h"
#include "button.h"
#include "cros_board_info.h"
#include "cros_cbi.h"
#include "driver/accelgyro_bmi323.h"
#include "driver/accelgyro_lsm6dsm.h"
#include "gpio/gpio_int.h"
#include "hooks.h"
#include "motionsense_sensors.h"
#include "tablet_mode.h"

#include "nissa_common.h"

LOG_MODULE_DECLARE(nissa, CONFIG_NISSA_LOG_LEVEL);

static bool use_alt_sensor;

void motion_interrupt(enum gpio_signal signal)
{
	if (use_alt_sensor)
		lsm6dsm_interrupt(signal);
	else
		bmi3xx_interrupt(signal);
}

static void sensor_init(void)
{
	int ret;
	uint32_t val;
	/* check which base sensor is used for motion_interrupt */
	use_alt_sensor = cros_cbi_ssfc_check_match(
		CBI_SSFC_VALUE_ID(DT_NODELABEL(base_sensor_1)));

	motion_sensors_check_ssfc();

	/* Check if it's tablet or not */
	ret = cros_cbi_get_fw_config(FW_TABLET, &val);
	if (ret != 0) {
		LOG_ERR("Error retrieving CBI FW_CONFIG field %d", FW_TABLET);
		return;
	}
	if (val == FW_TABLET_NOT_PRESENT) {
		LOG_INF("Clamshell: disable motionsense function.");
		motion_sensor_count = 0;
		gmr_tablet_switch_disable();
		gpio_disable_dt_interrupt(GPIO_INT_FROM_NODELABEL(int_imu));
		gpio_pin_configure_dt(GPIO_DT_FROM_NODELABEL(gpio_imu_int_l),
				      GPIO_DISCONNECTED);

		LOG_INF("Clamshell: disable volume button function.");
		button_disable_gpio(BUTTON_VOLUME_UP);
		button_disable_gpio(BUTTON_VOLUME_DOWN);
	} else {
		LOG_INF("Tablet: Enable motionsense function.");
	}
}
DECLARE_HOOK(HOOK_INIT, sensor_init, HOOK_PRIO_POST_I2C);
```

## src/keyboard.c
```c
/* Copyright 2022 The ChromiumOS Authors.
 * Use of this source code is governed by a BSD-style license that can be
 * found in the LICENSE file.
 */

#include "ec_commands.h"

static const struct ec_response_keybd_config pujjo_kb = {
	.num_top_row_keys = 10,
	.action_keys = {
		TK_BACK,			/* T1 */
		TK_REFRESH,			/* T2 */
		TK_FULLSCREEN,		/* T3 */
		TK_OVERVIEW,		/* T4 */
		TK_BRIGHTNESS_DOWN,	/* T5 */
		TK_BRIGHTNESS_UP,	/* T6 */
		TK_MICMUTE,			/* T7 */
		TK_VOL_MUTE,		/* T8 */
		TK_VOL_DOWN,		/* T9 */
		TK_VOL_UP,			/* T10 */
	},
	.capabilities = KEYBD_CAP_SCRNLOCK_KEY,
};

__override const struct ec_response_keybd_config *
board_vivaldi_keybd_config(void)
{
	return &pujjo_kb;
}
```

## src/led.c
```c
/* Copyright 2022 The ChromiumOS Authors
 * Use of this source code is governed by a BSD-style license that can be
 * found in the LICENSE file.
 */

/* Pujjo specific PWM LED settings: there are 2 LEDs on each side of the board,
 * each one can be controlled separately. The LED colors are white or amber,
 * and the default behavior is tied to the charging process: both sides are
 * amber while charging the battery and white when the battery is charged.
 */

#include "common.h"
#include "gpio.h"
#include "led_common.h"
#include "led_onoff_states.h"

#define CPRINTS(format, args...) cprints(CC_CHARGER, format, ##args)
#define CPRINTF(format, args...) cprintf(CC_CHARGER, format, ##args)

#define LED_OFF_LVL 1
#define LED_ON_LVL 0

__override const int led_charge_lvl_1 = 5;

__override const int led_charge_lvl_2 = 97;

__override struct led_descriptor
	led_bat_state_table[LED_NUM_STATES][LED_NUM_PHASES] = {
		[STATE_CHARGING_LVL_1] = { { EC_LED_COLOR_RED,
					     LED_INDEFINITE } },
		[STATE_CHARGING_LVL_2] = { { EC_LED_COLOR_AMBER,
					     LED_INDEFINITE } },
		[STATE_CHARGING_FULL_CHARGE] = { { EC_LED_COLOR_GREEN,
						   LED_INDEFINITE } },
		[STATE_DISCHARGE_S0] = { { LED_OFF, LED_INDEFINITE } },
		[STATE_DISCHARGE_S3] = { { LED_OFF, LED_INDEFINITE } },
		[STATE_DISCHARGE_S5] = { { LED_OFF, LED_INDEFINITE } },
		[STATE_BATTERY_ERROR] = { { EC_LED_COLOR_RED, 1 * LED_ONE_SEC },
					  { LED_OFF, 1 * LED_ONE_SEC } },
		[STATE_FACTORY_TEST] = { { EC_LED_COLOR_RED, 2 * LED_ONE_SEC },
					 { EC_LED_COLOR_GREEN,
					   2 * LED_ONE_SEC } },
	};

__override const struct led_descriptor
	led_pwr_state_table[PWR_LED_NUM_STATES][LED_NUM_PHASES] = {
		[PWR_LED_STATE_ON] = { { EC_LED_COLOR_WHITE, LED_INDEFINITE } },
		[PWR_LED_STATE_SUSPEND_AC] = { { EC_LED_COLOR_WHITE,
						 1 * LED_ONE_SEC },
					       { LED_OFF, 3 * LED_ONE_SEC } },
		[PWR_LED_STATE_SUSPEND_NO_AC] = { { EC_LED_COLOR_WHITE,
						    1 * LED_ONE_SEC },
						  { LED_OFF,
						    3 * LED_ONE_SEC } },
		[PWR_LED_STATE_OFF] = { { LED_OFF, LED_INDEFINITE } },
	};

const enum ec_led_id supported_led_ids[] = { EC_LED_ID_BATTERY_LED,
					     EC_LED_ID_POWER_LED };

const int supported_led_ids_count = ARRAY_SIZE(supported_led_ids);

__override void led_set_color_power(enum ec_led_colors color)
{
	if (color == EC_LED_COLOR_WHITE)
		gpio_pin_set_dt(GPIO_DT_FROM_NODELABEL(gpio_power_led),
				LED_ON_LVL);
	else
		/* LED_OFF and unsupported colors */
		gpio_pin_set_dt(GPIO_DT_FROM_NODELABEL(gpio_power_led),
				LED_OFF_LVL);
}

__override void led_set_color_battery(enum ec_led_colors color)
{
	switch (color) {
	case EC_LED_COLOR_AMBER:
		gpio_pin_set_dt(GPIO_DT_FROM_NODELABEL(gpio_led_1_odl),
				LED_ON_LVL);
		gpio_pin_set_dt(GPIO_DT_FROM_NODELABEL(gpio_led_2_odl),
				LED_ON_LVL);
		break;
	case EC_LED_COLOR_RED:
		gpio_pin_set_dt(GPIO_DT_FROM_NODELABEL(gpio_led_1_odl),
				LED_ON_LVL);
		gpio_pin_set_dt(GPIO_DT_FROM_NODELABEL(gpio_led_2_odl),
				LED_OFF_LVL);
		break;
	case EC_LED_COLOR_GREEN:
		gpio_pin_set_dt(GPIO_DT_FROM_NODELABEL(gpio_led_1_odl),
				LED_OFF_LVL);
		gpio_pin_set_dt(GPIO_DT_FROM_NODELABEL(gpio_led_2_odl),
				LED_ON_LVL);
		break;
	default: /* LED_OFF and other unsupported colors */
		gpio_pin_set_dt(GPIO_DT_FROM_NODELABEL(gpio_led_1_odl),
				LED_OFF_LVL);
		gpio_pin_set_dt(GPIO_DT_FROM_NODELABEL(gpio_led_2_odl),
				LED_OFF_LVL);
		break;
	}
}

void led_get_brightness_range(enum ec_led_id led_id, uint8_t *brightness_range)
{
	if (led_id == EC_LED_ID_BATTERY_LED) {
		brightness_range[EC_LED_COLOR_RED] = 1;
		brightness_range[EC_LED_COLOR_AMBER] = 1;
		brightness_range[EC_LED_COLOR_GREEN] = 1;
	} else if (led_id == EC_LED_ID_POWER_LED) {
		brightness_range[EC_LED_COLOR_WHITE] = 1;
	}
}

int led_set_brightness(enum ec_led_id led_id, const uint8_t *brightness)
{
	if (led_id == EC_LED_ID_BATTERY_LED) {
		if (brightness[EC_LED_COLOR_RED] != 0)
			led_set_color_battery(EC_LED_COLOR_RED);
		else if (brightness[EC_LED_COLOR_AMBER] != 0)
			led_set_color_battery(EC_LED_COLOR_AMBER);
		else if (brightness[EC_LED_COLOR_GREEN] != 0)
			led_set_color_battery(EC_LED_COLOR_GREEN);
		else
			led_set_color_battery(LED_OFF);
	} else if (led_id == EC_LED_ID_POWER_LED) {
		if (brightness[EC_LED_COLOR_WHITE] != 0)
			led_set_color_power(EC_LED_COLOR_WHITE);
		else
			led_set_color_power(LED_OFF);
	}

	return EC_SUCCESS;
}
```

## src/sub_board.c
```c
/* Copyright 2022 The ChromiumOS Authors.
 * Use of this source code is governed by a BSD-style license that can be
 * found in the LICENSE file.
 */

#include "nissa_common.h"

__override void nissa_configure_hdmi_power_gpios(void)
{
	/* Pujjo needs to drive VCC enable but not core rails */
	nissa_configure_hdmi_vcc();
}
```

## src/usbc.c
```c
/* Copyright 2022 The ChromiumOS Authors
 * Use of this source code is governed by a BSD-style license that can be
 * found in the LICENSE file.
 */

#include <zephyr/logging/log.h>

#include "charge_state_v2.h"
#include "chipset.h"
#include "hooks.h"
#include "usb_mux.h"
#include "system.h"
#include "driver/charger/isl923x_public.h"
#include "driver/retimer/anx7483_public.h"
#include "driver/tcpm/tcpci.h"
#include "hooks.h"
#include "system.h"
#include "usb_mux.h"

#include "nissa_common.h"

LOG_MODULE_DECLARE(nissa, CONFIG_NISSA_LOG_LEVEL);

struct tcpc_config_t tcpc_config[CONFIG_USB_PD_PORT_MAX_COUNT] = {
	{
		.bus_type = EC_BUS_TYPE_I2C,
		.i2c_info = {
			.port = I2C_PORT_USB_C0_TCPC,
			.addr_flags = RAA489000_TCPC0_I2C_FLAGS,
		},
		.drv = &raa489000_tcpm_drv,
		/* RAA489000 implements TCPCI 2.0 */
		.flags = TCPC_FLAGS_TCPCI_REV2_0 |
			TCPC_FLAGS_VBUS_MONITOR,
	},
};

int board_is_sourcing_vbus(int port)
{
	int regval;

	tcpc_read(port, TCPC_REG_POWER_STATUS, &regval);
	return !!(regval & TCPC_REG_POWER_STATUS_SOURCING_VBUS);
}

int board_set_active_charge_port(int port)
{
	int is_real_port = (port >= 0 && port < CONFIG_USB_PD_PORT_MAX_COUNT);
	int i;
	int old_port;

	if (!is_real_port && port != CHARGE_PORT_NONE)
		return EC_ERROR_INVAL;

	old_port = charge_manager_get_active_charge_port();

	LOG_INF("New chg p%d", port);

	/* Disable all ports. */
	if (port == CHARGE_PORT_NONE) {
		for (i = 0; i < CONFIG_USB_PD_PORT_MAX_COUNT; i++) {
			tcpc_write(i, TCPC_REG_COMMAND,
				   TCPC_REG_COMMAND_SNK_CTRL_LOW);
			raa489000_enable_asgate(i, false);
		}

		return EC_SUCCESS;
	}

	/* Check if port is sourcing VBUS. */
	if (board_is_sourcing_vbus(port)) {
		LOG_WRN("Skip enable p%d", port);
		return EC_ERROR_INVAL;
	}

	/*
	 * Turn off the other ports' sink path FETs, before enabling the
	 * requested charge port.
	 */
	for (i = 0; i < CONFIG_USB_PD_PORT_MAX_COUNT; i++) {
		if (i == port)
			continue;

		if (tcpc_write(i, TCPC_REG_COMMAND,
			       TCPC_REG_COMMAND_SNK_CTRL_LOW))
			LOG_WRN("p%d: sink path disable failed.", i);
		raa489000_enable_asgate(i, false);
	}

	/*
	 * Stop the charger IC from switching while changing ports.  Otherwise,
	 * we can overcurrent the adapter we're switching to. (crbug.com/926056)
	 */
	if (old_port != CHARGE_PORT_NONE)
		charger_discharge_on_ac(1);

	/* Enable requested charge port. */
	if (raa489000_enable_asgate(port, true) ||
	    tcpc_write(port, TCPC_REG_COMMAND,
		       TCPC_REG_COMMAND_SNK_CTRL_HIGH)) {
		LOG_WRN("p%d: sink path enable failed.", port);
		charger_discharge_on_ac(0);
		return EC_ERROR_UNKNOWN;
	}

	/* Allow the charger IC to begin/continue switching. */
	charger_discharge_on_ac(0);

	return EC_SUCCESS;
}

uint16_t tcpc_get_alert_status(void)
{
	uint16_t status = 0;
	int regval;

	/*
	 * The interrupt line is shared between the TCPC and BC1.2 detector IC.
	 * Therefore, go out and actually read the alert registers to report the
	 * alert status.
	 */
	if (!gpio_pin_get_dt(GPIO_DT_FROM_NODELABEL(gpio_usb_c0_int_odl))) {
		if (!tcpc_read16(0, TCPC_REG_ALERT, &regval)) {
			/* The TCPCI Rev 1.0 spec says to ignore bits 14:12. */
			if (!(tcpc_config[0].flags & TCPC_FLAGS_TCPCI_REV2_0))
				regval &= ~((1 << 14) | (1 << 13) | (1 << 12));

			if (regval)
				status |= PD_STATUS_TCPC_ALERT_0;
		}
	}
	return status;
}

void pd_power_supply_reset(int port)
{
	/* Disable VBUS */
	tcpc_write(port, TCPC_REG_COMMAND, TCPC_REG_COMMAND_SRC_CTRL_LOW);

	/* Notify host of power info change. */
	pd_send_host_event(PD_EVENT_POWER_CHANGE);
}

__override void typec_set_source_current_limit(int port, enum tcpc_rp_value rp)
{
	if (port < 0 || port >= CONFIG_USB_PD_PORT_MAX_COUNT)
		return;

	raa489000_set_output_current(port, rp);
}

int pd_set_power_supply_ready(int port)
{
	int rv;

	if (port >= CONFIG_USB_PD_PORT_MAX_COUNT)
		return EC_ERROR_INVAL;

	/* Disable charging. */
	rv = tcpc_write(port, TCPC_REG_COMMAND, TCPC_REG_COMMAND_SNK_CTRL_LOW);
	if (rv)
		return rv;

	/* Our policy is not to source VBUS when the AP is off. */
	if (chipset_in_state(CHIPSET_STATE_ANY_OFF))
		return EC_ERROR_NOT_POWERED;

	/* Provide Vbus. */
	rv = tcpc_write(port, TCPC_REG_COMMAND, TCPC_REG_COMMAND_SRC_CTRL_HIGH);
	if (rv)
		return rv;

	rv = raa489000_enable_asgate(port, true);
	if (rv)
		return rv;

	/* Notify host of power info change. */
	pd_send_host_event(PD_EVENT_POWER_CHANGE);

	return EC_SUCCESS;
}

void board_reset_pd_mcu(void)
{
	/*
	 * TODO(b:147316511): could send a reset command to the TCPC here
	 * if needed.
	 */
}

/*
 * Because the TCPCs and BC1.2 chips share interrupt lines, it's possible
 * for an interrupt to be lost if one asserts the IRQ, the other does the same
 * then the first releases it: there will only be one falling edge to trigger
 * the interrupt, and the line will be held low. We handle this by running a
 * deferred check after a falling edge to see whether the IRQ is still being
 * asserted. If it is, we assume an interrupt may have been lost and we need
 * to poll each chip for events again.
 */
#define USBC_INT_POLL_DELAY_US 5000

static void poll_c0_int(void);
DECLARE_DEFERRED(poll_c0_int);

static void usbc_interrupt_trigger(int port)
{
	schedule_deferred_pd_interrupt(port);
	usb_charger_task_set_event(port, USB_CHG_EVENT_BC12);
}

static inline void poll_usb_gpio(int port, const struct gpio_dt_spec *gpio,
				 const struct deferred_data *ud)
{
	if (!gpio_pin_get_dt(gpio)) {
		usbc_interrupt_trigger(port);
		hook_call_deferred(ud, USBC_INT_POLL_DELAY_US);
	}
}

static void poll_c0_int(void)
{
	poll_usb_gpio(0, GPIO_DT_FROM_NODELABEL(gpio_usb_c0_int_odl),
		      &poll_c0_int_data);
}

void usb_interrupt(enum gpio_signal signal)
{
	int port;
	const struct deferred_data *ud;

	if (signal == GPIO_SIGNAL(DT_NODELABEL(gpio_usb_c0_int_odl))) {
		port = 0;
		ud = &poll_c0_int_data;
	}
	/*
	 * We've just been called from a falling edge, so there's definitely
	 * no lost IRQ right now. Cancel any pending check.
	 */
	hook_call_deferred(ud, -1);
	/* Trigger polling of TCPC and BC1.2 in respective tasks */
	usbc_interrupt_trigger(port);
	/* Check for lost interrupts in a bit */
	hook_call_deferred(ud, USBC_INT_POLL_DELAY_US);
}
```
